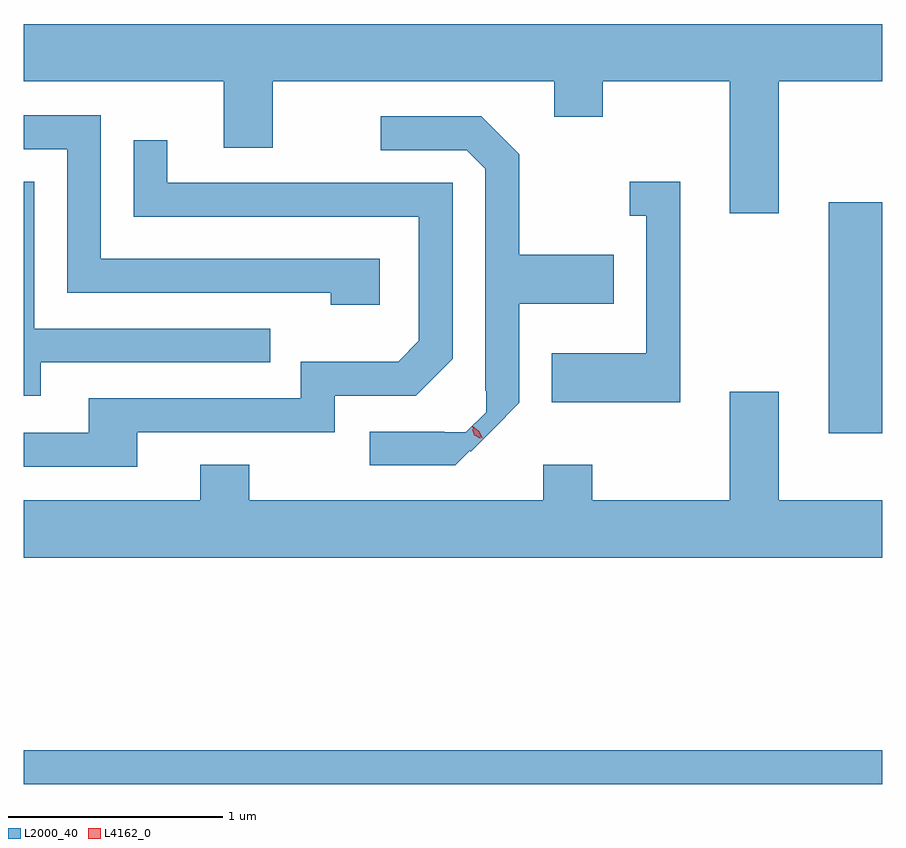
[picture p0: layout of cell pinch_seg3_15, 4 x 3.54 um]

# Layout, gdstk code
import gdstk
lib = gdstk.Library(unit=1e-6, precision=1e-09)
def R(c, l, rs):  # rectangles x0, y0, x1, y1
    for r in rs: c.add(gdstk.rectangle(r[:2], r[2:], *l))
def P(c, l, *ps):  # polygons
    for p in ps: c.add(gdstk.Polygon(p, *l))
L2000_40 = (2000, 40)
L4162_0 = (4162, 0)

pinch_seg3_15 = lib.new_cell('pinch_seg3_15')
R(pinch_seg3_15, L2000_40, [(850.11,1240.401,854.11,1240.559), (853.861,1242.036,854.11,1243.114)])
P(pinch_seg3_15, L2000_40, [(853.629,1243.676),(854.11,1243.676),(854.11,1243.944),(850.11,1243.944),(850.11,1243.676),(851.041,1243.676),(851.041,1243.366),(851.269,1243.366),(851.269,1243.676),(852.581,1243.676),(852.581,1243.511),(852.809,1243.511),(852.809,1243.676),(853.401,1243.676),(853.401,1243.061),(853.629,1243.061)],
  [(851.769,1242.849),(850.469,1242.849),(850.469,1243.519),(850.11,1243.519),(850.11,1243.361),(850.311,1243.361),(850.311,1242.691),(851.541,1242.691),(851.541,1242.636),(851.769,1242.636)],
  [(852.189,1241.954),(852.193,1241.95),(852.356,1242.112),(852.354,1242.114),(852.419,1242.179),(852.419,1242.641),(852.859,1242.641),(852.859,1242.869),(852.419,1242.869),(852.419,1243.337),(852.242,1243.514),(851.773,1243.514),(851.773,1243.356),(852.174,1243.356),(852.261,1243.269),(852.261,1242.235),(852.265,1242.235),(852.265,1242.135),(852.17,1242.04),(852.07,1242.04),(852.07,1242.044),(851.723,1242.044),(851.723,1241.886),(852.121,1241.886)],
  [(850.639,1242.041),(851.559,1242.041),(851.559,1242.211),(851.937,1242.211),(852.109,1242.384),(852.109,1243.204),(850.779,1243.204),(850.779,1243.403),(850.621,1243.403),(850.621,1243.046),(851.951,1243.046),(851.951,1242.467),(851.854,1242.369),(851.401,1242.369),(851.401,1242.199),(850.411,1242.199),(850.411,1242.039),(850.11,1242.039),(850.11,1241.881),(850.639,1241.881)],
  [(850.189,1242.366),(851.258,1242.366),(851.258,1242.524),(850.159,1242.524),(850.159,1243.209),(850.11,1243.209),(850.11,1242.211),(850.189,1242.211)],
  [(853.169,1243.209),(852.933,1243.209),(852.933,1243.051),(853.011,1243.051),(853.011,1242.409),(852.571,1242.409),(852.571,1242.181),(853.169,1242.181)],
  [(854.11,1241.724),(853.629,1241.724),(853.629,1242.229),(853.401,1242.229),(853.401,1241.724),(852.759,1241.724),(852.759,1241.889),(852.531,1241.889),(852.531,1241.724),(851.159,1241.724),(851.159,1241.889),(850.931,1241.889),(850.931,1241.724),(850.11,1241.724),(850.11,1241.456),(854.11,1241.456)])
P(pinch_seg3_15, L4162_0, [(852.248,1242.012),(852.216,1242.033),(852.2,1242.067),(852.2,1242.068),(852.201,1242.068),(852.232,1242.046),(852.248,1242.013),(852.248,1242.012)],
  [(852.235,1242.012),(852.21,1242.027),(852.199,1242.055),(852.199,1242.055),(852.2,1242.055),(852.225,1242.04),(852.236,1242.013),(852.236,1242.012)])

lib.write_gds('pinch_seg3_15.gds')
